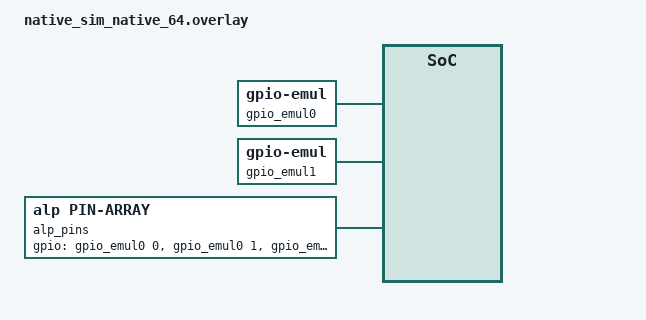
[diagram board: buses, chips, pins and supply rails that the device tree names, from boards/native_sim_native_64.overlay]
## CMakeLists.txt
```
# SPDX-License-Identifier: Apache-2.0

cmake_minimum_required(VERSION 3.20)

# SoM facts follow the board being built, not board.yaml's static som.sku
# (#2597): gen_example_alp_conf.py writes generated/<sku>/alp.conf for a twin
# SKU whose fragment differs (e.g. AEN803's populated OSPI memories).
# Two if()s on purpose: CMake expands ${CMAKE_MATCH_1} before it evaluates the
# if(), so in one combined condition EXISTS would test "generated//alp.conf"
# (always there) and every board would be sent to a per-SKU file, written or not.
if(BOARD MATCHES "^alp_e1m_(aen[0-9]+)")
    if(EXISTS "${CMAKE_CURRENT_LIST_DIR}/generated/${CMAKE_MATCH_1}/alp.conf")
        string(REPLACE "generated/alp.conf" "generated/${CMAKE_MATCH_1}/alp.conf"
               EXTRA_CONF_FILE "${EXTRA_CONF_FILE}")
    endif()
endif()

find_package(Zephyr REQUIRED HINTS $ENV{ZEPHYR_BASE})
project(blink LANGUAGES C)

target_sources(app PRIVATE src/main.c)
```

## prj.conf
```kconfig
# SPDX-License-Identifier: Apache-2.0
#
# Intentionally empty.  Every CONFIG_* this app needs is derived
# from board.yaml by scripts/alp_project.py and layered in as
# `EXTRA_CONF_FILE` via CMakeLists.txt -- the board.yaml is the
# single source of truth.  If you want a hand-set override, add a
# new prj-override.conf and `list(APPEND EXTRA_CONF_FILE ...)` it.
```

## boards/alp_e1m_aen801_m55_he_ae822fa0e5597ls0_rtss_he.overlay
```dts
/*
 * Copyright 2026 Alp Lab AB
 * SPDX-License-Identifier: Apache-2.0
 *
 * Real-hardware pin routing for blink on the E1M-AEN801 (Alif Ensemble
 * E8), M55-HE core.  The M55-HP overlay beside this one is identical --
 * the LED pad is a SoM-level route, not a core-level one, so either
 * core can drive it.
 *
 * WHY THIS FILE EXISTS AT ALL.  <alp/peripheral.h>'s portable
 * alp_gpio_open() resolves a pin id through the `alp,pin-array` DT node
 * (src/backends/gpio/zephyr_drv.c, alp_z_gpio_resolve()).  That node is
 * NOT supplied by the board tree under zephyr/boards/alp/ -- every
 * example that touches GPIO on real silicon ships its own.  Without
 * this file the example builds, links, boots, reaches main() and then
 * fails at the first call with ALP_ERR_INVAL, because the array does
 * not exist.  Verified before this overlay was added:
 *
 *     [blink] init led=BOARD_PIN_LED_RED
 *     [blink] failed: open status=-1
 *
 * THE PAD.  BOARD_PIN_LED_RED -> EVK_PIN_LED_RED -> ALP_E1M_GPIO_PWM0,
 * canonical pin id 26.  (Bench-measured 2026-07-28: the RGB LED's
 * RED/GREEN pads were swapped from the internal netlist's wrong
 * LED_R/LED_G net names -- PWM0 is physically red, PWM3 physically
 * green; see metadata/boards/e1m-evk.yaml's `e1m_routes:` comment.
 * Don't "fix" this back toward the netlist.)  The E1M pad -> Alif pad
 * mapping is committed data, not a guess --
 * metadata/e1m_modules/aen/from-alif.tsv:5:
 *
 *     e1m_pad  e1m_function  alif_peripheral  alif_pad
 *     A6       PWM0          UT11_T1_C        P12_7
 *
 * P12_7 is port 12 pin 7 -> `gpio12` (gpio@4900c000,
 * zephyr/dts/alif/ensemble_e8_peripherals.dtsi:222).  Its GPIO function
 * is alt-0 (PIN_P12_7__GPIO = ALIF_PINMUX(12, 7, 0)); the pad's default
 * peripheral function UT11_T1_C is alt-4, which is the PWM path a real
 * PWM fade on this pad would claim instead.  Same silicon -- never
 * hold both at once.
 *
 * WHY THE OTHER 25 ENTRIES POINT AT A DISABLED NODE.  The array is
 * POSITIONAL and the resolver bounds-checks against its length
 * (`if (pin_id >= ARRAY_SIZE(alp_pins)) return false;`), so reaching
 * index 26 means declaring indices 0..25 as well (this overlay in fact
 * declares through index 29, since the RGB GREEN/BLUE channels also
 * have committed Alif mappings).  Only 11 of the E1M GPIO-class pads
 * have a committed Alif mapping in from-alif.tsv (IO0, IO2..IO7,
 * PWM0..PWM4, PWM6) -- IO1 and IO8..IO25 have none.
 *
 * Filling those slots with plausible-looking gpio2 pins would make
 * alp_gpio_open() on any of them DRIVE A REAL PAD on a live board,
 * chosen by guesswork, with whatever else is wired to it.  That is a
 * hardware-contention hazard, not a documentation shortcut.  Instead
 * every unmapped index points at gpio2 pin 31 -- a REAL, ready
 * controller but a pin that does not exist on it (gpio2 has
 * `ngpios = <8>`, so only pins 0..7 are valid).  Zephyr's generic
 * gpio_pin_configure() rejects it against the port pin mask with
 * -EINVAL, so the call fails before any pad is touched.  A disabled
 * sentinel node cannot be used instead: Zephyr only instantiates
 * devices for `status = "okay"` nodes, so DEVICE_DT_GET on a disabled
 * one fails to build (`__device_dts_ord_N undeclared`).
 *
 * So on this board: opening BOARD_PIN_LED_RED works; opening an
 * unmapped E1M pad fails cleanly and loudly.  When a pad gains a real
 * mapping in from-alif.tsv, move its entry off the sentinel.
 */

#include <zephyr/dt-bindings/gpio/gpio.h>

/*
 * No &pinctrl group here on purpose.  GPIO is alt-0 on this SoC and is
 * the pad's default mux, so P12_7 (the LED pad, PWM0) comes up as GPIO
 * without a pinmux entry -- the same reason examples/aen/aen-cc3501e-gpio
 * notes "the LP-GPIO mux (alt-0 default)" for its control nets.  It
 * could not be attached here anyway: gpio12 binds snps,designware-gpio.yaml,
 * which declares no `pinctrl-0` property, so adding one is a devicetree
 * error.  Claiming the pad's alt-4 UT11_T1_C timer function instead is
 * what a real PWM fade on this pad would do.
 */

&gpio12 {
	status = "okay";
};

/*
 * gpio2 backs the RGB LED's GREEN channel (P2_4, PWM3 --
 * metadata/e1m_modules/aen/from-alif.tsv: `B5 PWM3 UT10_T0_A P2_4`,
 * see index [29] below) plus every unmapped sentinel slot in this
 * array (gpio2 pin 31, see the header comment).  This demo doesn't
 * open the green channel, but index 29 still needs a real, enabled
 * controller behind it -- same reasoning as gpio12 above.
 */
&gpio2 {
	status = "okay";
};

/*
 * gpio12 also backs the RGB LED's BLUE channel (P12_6, PWM1 --
 * `B6 PWM1 UT11_T0_C P12_6`, see index [27] below).  Both gpio11..gpio14
 * only became reachable when they were added to
 * ensemble_e8_peripherals.dtsi -- before that these routes resolved to
 * no controller at all.
 */

/ {
	alp_pins: alp-pins {
		compatible = "alp,pin-array";
		gpios = <&gpio2 31 GPIO_ACTIVE_HIGH>,   /* [ 0] ALP_E1M_GPIO_IO0   -- unmapped */
			<&gpio2 31 GPIO_ACTIVE_HIGH>,   /* [ 1] ALP_E1M_GPIO_IO1   -- unmapped */
			<&gpio2 31 GPIO_ACTIVE_HIGH>,   /* [ 2] ALP_E1M_GPIO_IO2   -- unmapped */
			<&gpio2 31 GPIO_ACTIVE_HIGH>,   /* [ 3] ALP_E1M_GPIO_IO3   -- unmapped */
			<&gpio2 31 GPIO_ACTIVE_HIGH>,   /* [ 4] ALP_E1M_GPIO_IO4   -- unmapped */
			<&gpio2 31 GPIO_ACTIVE_HIGH>,   /* [ 5] ALP_E1M_GPIO_IO5   -- unmapped */
			<&gpio2 31 GPIO_ACTIVE_HIGH>,   /* [ 6] ALP_E1M_GPIO_IO6   -- unmapped */
			<&gpio2 31 GPIO_ACTIVE_HIGH>,   /* [ 7] ALP_E1M_GPIO_IO7   -- unmapped */
			<&gpio2 31 GPIO_ACTIVE_HIGH>,   /* [ 8] ALP_E1M_GPIO_IO8   -- unmapped */
			<&gpio2 31 GPIO_ACTIVE_HIGH>,   /* [ 9] ALP_E1M_GPIO_IO9   -- unmapped */
			<&gpio2 31 GPIO_ACTIVE_HIGH>,   /* [10] ALP_E1M_GPIO_IO10  -- unmapped */
			<&gpio2 31 GPIO_ACTIVE_HIGH>,   /* [11] ALP_E1M_GPIO_IO11  -- unmapped */
			<&gpio2 31 GPIO_ACTIVE_HIGH>,   /* [12] ALP_E1M_GPIO_IO12  -- unmapped */
			<&gpio2 31 GPIO_ACTIVE_HIGH>,   /* [13] ALP_E1M_GPIO_IO13  -- unmapped */
			<&gpio2 31 GPIO_ACTIVE_HIGH>,   /* [14] ALP_E1M_GPIO_IO14  -- unmapped */
			<&gpio2 31 GPIO_ACTIVE_HIGH>,   /* [15] ALP_E1M_GPIO_IO15  -- unmapped */
			<&gpio2 31 GPIO_ACTIVE_HIGH>,   /* [16] ALP_E1M_GPIO_IO16  -- unmapped */
			<&gpio2 31 GPIO_ACTIVE_HIGH>,   /* [17] ALP_E1M_GPIO_IO17  -- unmapped */
			<&gpio2 31 GPIO_ACTIVE_HIGH>,   /* [18] ALP_E1M_GPIO_IO18  -- unmapped */
			<&gpio2 31 GPIO_ACTIVE_HIGH>,   /* [19] ALP_E1M_GPIO_IO19  -- unmapped */
			<&gpio2 31 GPIO_ACTIVE_HIGH>,   /* [20] ALP_E1M_GPIO_IO20  -- unmapped */
			<&gpio2 31 GPIO_ACTIVE_HIGH>,   /* [21] ALP_E1M_GPIO_IO21  -- unmapped */
			<&gpio2 31 GPIO_ACTIVE_HIGH>,   /* [22] ALP_E1M_GPIO_IO22  -- unmapped */
			<&gpio2 31 GPIO_ACTIVE_HIGH>,   /* [23] ALP_E1M_GPIO_IO23  -- unmapped */
			<&gpio2 31 GPIO_ACTIVE_HIGH>,   /* [24] ALP_E1M_GPIO_IO24  -- unmapped */
			<&gpio2 31 GPIO_ACTIVE_HIGH>,   /* [25] ALP_E1M_GPIO_IO25  -- unmapped */
			<&gpio12 7 GPIO_ACTIVE_HIGH>,   /* [26] ALP_E1M_GPIO_PWM0  -- THE LED (RGB red channel): E1M pad A6 -> Alif P12_7 */
			<&gpio12 6 GPIO_ACTIVE_HIGH>,   /* [27] ALP_E1M_GPIO_PWM1  -- RGB blue channel:  E1M pad B6 -> Alif P12_6 */
			<&gpio2 31 GPIO_ACTIVE_HIGH>,   /* [28] ALP_E1M_GPIO_PWM2  -- unmapped here */
			<&gpio2          4 GPIO_ACTIVE_HIGH>;   /* [29] ALP_E1M_GPIO_PWM3  -- RGB green channel (unused here): E1M pad B5 -> Alif P2_4 */
	};
};
```

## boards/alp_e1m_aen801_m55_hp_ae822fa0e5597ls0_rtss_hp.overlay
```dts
/*
 * Copyright 2026 Alp Lab AB
 * SPDX-License-Identifier: Apache-2.0
 *
 * Real-hardware pin routing for blink on the E1M-AEN801 (Alif Ensemble
 * E8), M55-HP core.  The M55-HE overlay beside this one is identical --
 * the LED pad is a SoM-level route, not a core-level one, so either
 * core can drive it.
 *
 * WHY THIS FILE EXISTS AT ALL.  <alp/peripheral.h>'s portable
 * alp_gpio_open() resolves a pin id through the `alp,pin-array` DT node
 * (src/backends/gpio/zephyr_drv.c, alp_z_gpio_resolve()).  That node is
 * NOT supplied by the board tree under zephyr/boards/alp/ -- every
 * example that touches GPIO on real silicon ships its own.  Without
 * this file the example builds, links, boots, reaches main() and then
 * fails at the first call with ALP_ERR_INVAL, because the array does
 * not exist.  Verified before this overlay was added:
 *
 *     [blink] init led=BOARD_PIN_LED_RED
 *     [blink] failed: open status=-1
 *
 * THE PAD.  BOARD_PIN_LED_RED -> EVK_PIN_LED_RED -> ALP_E1M_GPIO_PWM0,
 * canonical pin id 26.  (Bench-measured 2026-07-28: the RGB LED's
 * RED/GREEN pads were swapped from the internal netlist's wrong
 * LED_R/LED_G net names -- PWM0 is physically red, PWM3 physically
 * green; see metadata/boards/e1m-evk.yaml's `e1m_routes:` comment.
 * Don't "fix" this back toward the netlist.)  The E1M pad -> Alif pad
 * mapping is committed data, not a guess --
 * metadata/e1m_modules/aen/from-alif.tsv:5:
 *
 *     e1m_pad  e1m_function  alif_peripheral  alif_pad
 *     A6       PWM0          UT11_T1_C        P12_7
 *
 * P12_7 is port 12 pin 7 -> `gpio12` (gpio@4900c000,
 * zephyr/dts/alif/ensemble_e8_peripherals.dtsi:222).  Its GPIO function
 * is alt-0 (PIN_P12_7__GPIO = ALIF_PINMUX(12, 7, 0)); the pad's default
 * peripheral function UT11_T1_C is alt-4, which is the PWM path a real
 * PWM fade on this pad would claim instead.  Same silicon -- never
 * hold both at once.
 *
 * WHY THE OTHER 25 ENTRIES POINT AT A DISABLED NODE.  The array is
 * POSITIONAL and the resolver bounds-checks against its length
 * (`if (pin_id >= ARRAY_SIZE(alp_pins)) return false;`), so reaching
 * index 26 means declaring indices 0..25 as well (this overlay in fact
 * declares through index 29, since the RGB GREEN/BLUE channels also
 * have committed Alif mappings).  Only 11 of the E1M GPIO-class pads
 * have a committed Alif mapping in from-alif.tsv (IO0, IO2..IO7,
 * PWM0..PWM4, PWM6) -- IO1 and IO8..IO25 have none.
 *
 * Filling those slots with plausible-looking gpio2 pins would make
 * alp_gpio_open() on any of them DRIVE A REAL PAD on a live board,
 * chosen by guesswork, with whatever else is wired to it.  That is a
 * hardware-contention hazard, not a documentation shortcut.  Instead
 * every unmapped index points at gpio2 pin 31 -- a REAL, ready
 * controller but a pin that does not exist on it (gpio2 has
 * `ngpios = <8>`, so only pins 0..7 are valid).  Zephyr's generic
 * gpio_pin_configure() rejects it against the port pin mask with
 * -EINVAL, so the call fails before any pad is touched.  A disabled
 * sentinel node cannot be used instead: Zephyr only instantiates
 * devices for `status = "okay"` nodes, so DEVICE_DT_GET on a disabled
 * one fails to build (`__device_dts_ord_N undeclared`).
 *
 * So on this board: opening BOARD_PIN_LED_RED works; opening an
 * unmapped E1M pad fails cleanly and loudly.  When a pad gains a real
 * mapping in from-alif.tsv, move its entry off the sentinel.
 */

#include <zephyr/dt-bindings/gpio/gpio.h>

/*
 * No &pinctrl group here on purpose.  GPIO is alt-0 on this SoC and is
 * the pad's default mux, so P12_7 (the LED pad, PWM0) comes up as GPIO
 * without a pinmux entry -- the same reason examples/aen/aen-cc3501e-gpio
 * notes "the LP-GPIO mux (alt-0 default)" for its control nets.  It
 * could not be attached here anyway: gpio12 binds snps,designware-gpio.yaml,
 * which declares no `pinctrl-0` property, so adding one is a devicetree
 * error.  Claiming the pad's alt-4 UT11_T1_C timer function instead is
 * what a real PWM fade on this pad would do.
 */

&gpio12 {
	status = "okay";
};

/*
 * gpio2 backs the RGB LED's GREEN channel (P2_4, PWM3 --
 * metadata/e1m_modules/aen/from-alif.tsv: `B5 PWM3 UT10_T0_A P2_4`,
 * see index [29] below) plus every unmapped sentinel slot in this
 * array (gpio2 pin 31, see the header comment).  This demo doesn't
 * open the green channel, but index 29 still needs a real, enabled
 * controller behind it -- same reasoning as gpio12 above.
 */
&gpio2 {
	status = "okay";
};

/*
 * gpio12 also backs the RGB LED's BLUE channel (P12_6, PWM1 --
 * `B6 PWM1 UT11_T0_C P12_6`, see index [27] below).  Both gpio11..gpio14
 * only became reachable when they were added to
 * ensemble_e8_peripherals.dtsi -- before that these routes resolved to
 * no controller at all.
 */

/ {
	alp_pins: alp-pins {
		compatible = "alp,pin-array";
		gpios = <&gpio2 31 GPIO_ACTIVE_HIGH>,   /* [ 0] ALP_E1M_GPIO_IO0   -- unmapped */
			<&gpio2 31 GPIO_ACTIVE_HIGH>,   /* [ 1] ALP_E1M_GPIO_IO1   -- unmapped */
			<&gpio2 31 GPIO_ACTIVE_HIGH>,   /* [ 2] ALP_E1M_GPIO_IO2   -- unmapped */
			<&gpio2 31 GPIO_ACTIVE_HIGH>,   /* [ 3] ALP_E1M_GPIO_IO3   -- unmapped */
			<&gpio2 31 GPIO_ACTIVE_HIGH>,   /* [ 4] ALP_E1M_GPIO_IO4   -- unmapped */
			<&gpio2 31 GPIO_ACTIVE_HIGH>,   /* [ 5] ALP_E1M_GPIO_IO5   -- unmapped */
			<&gpio2 31 GPIO_ACTIVE_HIGH>,   /* [ 6] ALP_E1M_GPIO_IO6   -- unmapped */
			<&gpio2 31 GPIO_ACTIVE_HIGH>,   /* [ 7] ALP_E1M_GPIO_IO7   -- unmapped */
			<&gpio2 31 GPIO_ACTIVE_HIGH>,   /* [ 8] ALP_E1M_GPIO_IO8   -- unmapped */
			<&gpio2 31 GPIO_ACTIVE_HIGH>,   /* [ 9] ALP_E1M_GPIO_IO9   -- unmapped */
			<&gpio2 31 GPIO_ACTIVE_HIGH>,   /* [10] ALP_E1M_GPIO_IO10  -- unmapped */
			<&gpio2 31 GPIO_ACTIVE_HIGH>,   /* [11] ALP_E1M_GPIO_IO11  -- unmapped */
			<&gpio2 31 GPIO_ACTIVE_HIGH>,   /* [12] ALP_E1M_GPIO_IO12  -- unmapped */
			<&gpio2 31 GPIO_ACTIVE_HIGH>,   /* [13] ALP_E1M_GPIO_IO13  -- unmapped */
			<&gpio2 31 GPIO_ACTIVE_HIGH>,   /* [14] ALP_E1M_GPIO_IO14  -- unmapped */
			<&gpio2 31 GPIO_ACTIVE_HIGH>,   /* [15] ALP_E1M_GPIO_IO15  -- unmapped */
			<&gpio2 31 GPIO_ACTIVE_HIGH>,   /* [16] ALP_E1M_GPIO_IO16  -- unmapped */
			<&gpio2 31 GPIO_ACTIVE_HIGH>,   /* [17] ALP_E1M_GPIO_IO17  -- unmapped */
			<&gpio2 31 GPIO_ACTIVE_HIGH>,   /* [18] ALP_E1M_GPIO_IO18  -- unmapped */
			<&gpio2 31 GPIO_ACTIVE_HIGH>,   /* [19] ALP_E1M_GPIO_IO19  -- unmapped */
			<&gpio2 31 GPIO_ACTIVE_HIGH>,   /* [20] ALP_E1M_GPIO_IO20  -- unmapped */
			<&gpio2 31 GPIO_ACTIVE_HIGH>,   /* [21] ALP_E1M_GPIO_IO21  -- unmapped */
			<&gpio2 31 GPIO_ACTIVE_HIGH>,   /* [22] ALP_E1M_GPIO_IO22  -- unmapped */
			<&gpio2 31 GPIO_ACTIVE_HIGH>,   /* [23] ALP_E1M_GPIO_IO23  -- unmapped */
			<&gpio2 31 GPIO_ACTIVE_HIGH>,   /* [24] ALP_E1M_GPIO_IO24  -- unmapped */
			<&gpio2 31 GPIO_ACTIVE_HIGH>,   /* [25] ALP_E1M_GPIO_IO25  -- unmapped */
			<&gpio12 7 GPIO_ACTIVE_HIGH>,   /* [26] ALP_E1M_GPIO_PWM0  -- THE LED (RGB red channel): E1M pad A6 -> Alif P12_7 */
			<&gpio12 6 GPIO_ACTIVE_HIGH>,   /* [27] ALP_E1M_GPIO_PWM1  -- RGB blue channel:  E1M pad B6 -> Alif P12_6 */
			<&gpio2 31 GPIO_ACTIVE_HIGH>,   /* [28] ALP_E1M_GPIO_PWM2  -- unmapped here */
			<&gpio2          4 GPIO_ACTIVE_HIGH>;   /* [29] ALP_E1M_GPIO_PWM3  -- RGB green channel (unused here): E1M pad B5 -> Alif P2_4 */
	};
};
```

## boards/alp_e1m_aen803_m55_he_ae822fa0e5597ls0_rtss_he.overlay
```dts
/*
 * Copyright 2026 Alp Lab AB
 * SPDX-License-Identifier: Apache-2.0
 *
 * Real-hardware pin routing for blink on the E1M-AEN803 (Alif Ensemble
 * E8), M55-HE core (#2235) -- every module on the bench farm is an
 * E1M-AEN803, so this is the overlay the default bench build now reads.
 * E1M-AEN803 shares the E1M-AEN801 PCB and silicon (AE822FA0E5597LS0)
 * -- the SKUs only differ in their external OSPI0 memory population
 * (E1M-AEN803 fits both HyperRAM and NOR, see
 * metadata/e1m_modules/E1M-AEN803.yaml).  None of this demo's pads sit
 * on that OSPI0 bus (P2_0, P2_1, P6_2..P6_6, P0_7, P12_0..P12_4, P15_2,
 * P15_3, P15_6, P15_7): the LED lives on P12_7/gpio12, its RGB siblings
 * on P12_6/gpio12 and P2_4/gpio2, and every unmapped array slot on the
 * gpio2-pin-31 sentinel below -- so the E1M-AEN801 body (below) carries
 * over unchanged.  The M55-HP overlay beside this one is identical --
 * the LED pad is a SoM-level route, not a core-level one, so either
 * core can drive it.
 *
 * WHY THIS FILE EXISTS AT ALL.  <alp/peripheral.h>'s portable
 * alp_gpio_open() resolves a pin id through the `alp,pin-array` DT node
 * (src/backends/gpio/zephyr_drv.c, alp_z_gpio_resolve()).  That node is
 * NOT supplied by the board tree under zephyr/boards/alp/ -- every
 * example that touches GPIO on real silicon ships its own.  Without
 * this file the example builds, links, boots, reaches main() and then
 * fails at the first call with ALP_ERR_INVAL, because the array does
 * not exist.  Verified before the E1M-AEN801 overlay was added:
 *
 *     [blink] init led=BOARD_PIN_LED_RED
 *     [blink] failed: open status=-1
 *
 * THE PAD.  BOARD_PIN_LED_RED -> EVK_PIN_LED_RED -> ALP_E1M_GPIO_PWM0,
 * canonical pin id 26.  (Bench-measured 2026-07-28: the RGB LED's
 * RED/GREEN pads were swapped from the internal netlist's wrong
 * LED_R/LED_G net names -- PWM0 is physically red, PWM3 physically
 * green; see metadata/boards/e1m-evk.yaml's `e1m_routes:` comment.
 * Don't "fix" this back toward the netlist.)  The E1M pad -> Alif pad
 * mapping is committed data, not a guess --
 * metadata/e1m_modules/aen/from-alif.tsv:5:
 *
 *     e1m_pad  e1m_function  alif_peripheral  alif_pad
 *     A6       PWM0          UT11_T1_C        P12_7
 *
 * P12_7 is port 12 pin 7 -> `gpio12` (gpio@4900c000,
 * zephyr/dts/alif/ensemble_e8_peripherals.dtsi:222).  Its GPIO function
 * is alt-0 (PIN_P12_7__GPIO = ALIF_PINMUX(12, 7, 0)); the pad's default
 * peripheral function UT11_T1_C is alt-4, which is the PWM path a real
 * PWM fade on this pad would claim instead.  Same silicon -- never
 * hold both at once.
 *
 * WHY THE OTHER 25 ENTRIES POINT AT A DISABLED NODE.  The array is
 * POSITIONAL and the resolver bounds-checks against its length
 * (`if (pin_id >= ARRAY_SIZE(alp_pins)) return false;`), so reaching
 * index 26 means declaring indices 0..25 as well (this overlay in fact
 * declares through index 29, since the RGB GREEN/BLUE channels also
 * have committed Alif mappings).  Only 11 of the E1M GPIO-class pads
 * have a committed Alif mapping in from-alif.tsv (IO0, IO2..IO7,
 * PWM0..PWM4, PWM6) -- IO1 and IO8..IO25 have none.
 *
 * Filling those slots with plausible-looking gpio2 pins would make
 * alp_gpio_open() on any of them DRIVE A REAL PAD on a live board,
 * chosen by guesswork, with whatever else is wired to it.  That is a
 * hardware-contention hazard, not a documentation shortcut.  Instead
 * every unmapped index points at gpio2 pin 31 -- a REAL, ready
 * controller but a pin that does not exist on it (gpio2 has
 * `ngpios = <8>`, so only pins 0..7 are valid).  Zephyr's generic
 * gpio_pin_configure() rejects it against the port pin mask with
 * -EINVAL, so the call fails before any pad is touched.  A disabled
 * sentinel node cannot be used instead: Zephyr only instantiates
 * devices for `status = "okay"` nodes, so DEVICE_DT_GET on a disabled
 * one fails to build (`__device_dts_ord_N undeclared`).
 *
 * So on this board: opening BOARD_PIN_LED_RED works; opening an
 * unmapped E1M pad fails cleanly and loudly.  When a pad gains a real
 * mapping in from-alif.tsv, move its entry off the sentinel.  This is
 * the same rationale the E1M-AEN801 overlay beside this one carries --
 * its body is byte-identical to the one below.
 */

#include <zephyr/dt-bindings/gpio/gpio.h>

/*
 * No &pinctrl group here on purpose.  GPIO is alt-0 on this SoC and is
 * the pad's default mux, so P12_7 (the LED pad, PWM0) comes up as GPIO
 * without a pinmux entry -- the same reason examples/aen/aen-cc3501e-gpio
 * notes "the LP-GPIO mux (alt-0 default)" for its control nets.  It
 * could not be attached here anyway: gpio12 binds snps,designware-gpio.yaml,
 * which declares no `pinctrl-0` property, so adding one is a devicetree
 * error.  Claiming the pad's alt-4 UT11_T1_C timer function instead is
 * what a real PWM fade on this pad would do.
 */

&gpio12 {
	status = "okay";
};

/*
 * gpio2 backs the RGB LED's GREEN channel (P2_4, PWM3 --
 * metadata/e1m_modules/aen/from-alif.tsv: `B5 PWM3 UT10_T0_A P2_4`,
 * see index [29] below) plus every unmapped sentinel slot in this
 * array (gpio2 pin 31, see the header comment).  This demo doesn't
 * open the green channel, but index 29 still needs a real, enabled
 * controller behind it -- same reasoning as gpio12 above.
 */
&gpio2 {
	status = "okay";
};

/*
 * gpio12 also backs the RGB LED's BLUE channel (P12_6, PWM1 --
 * `B6 PWM1 UT11_T0_C P12_6`, see index [27] below).  Both gpio11..gpio14
 * only became reachable when they were added to
 * ensemble_e8_peripherals.dtsi -- before that these routes resolved to
 * no controller at all.
 */

/ {
	alp_pins: alp-pins {
		compatible = "alp,pin-array";
		gpios = <&gpio2 31 GPIO_ACTIVE_HIGH>,   /* [ 0] ALP_E1M_GPIO_IO0   -- unmapped */
			<&gpio2 31 GPIO_ACTIVE_HIGH>,   /* [ 1] ALP_E1M_GPIO_IO1   -- unmapped */
			<&gpio2 31 GPIO_ACTIVE_HIGH>,   /* [ 2] ALP_E1M_GPIO_IO2   -- unmapped */
			<&gpio2 31 GPIO_ACTIVE_HIGH>,   /* [ 3] ALP_E1M_GPIO_IO3   -- unmapped */
			<&gpio2 31 GPIO_ACTIVE_HIGH>,   /* [ 4] ALP_E1M_GPIO_IO4   -- unmapped */
			<&gpio2 31 GPIO_ACTIVE_HIGH>,   /* [ 5] ALP_E1M_GPIO_IO5   -- unmapped */
			<&gpio2 31 GPIO_ACTIVE_HIGH>,   /* [ 6] ALP_E1M_GPIO_IO6   -- unmapped */
			<&gpio2 31 GPIO_ACTIVE_HIGH>,   /* [ 7] ALP_E1M_GPIO_IO7   -- unmapped */
			<&gpio2 31 GPIO_ACTIVE_HIGH>,   /* [ 8] ALP_E1M_GPIO_IO8   -- unmapped */
			<&gpio2 31 GPIO_ACTIVE_HIGH>,   /* [ 9] ALP_E1M_GPIO_IO9   -- unmapped */
			<&gpio2 31 GPIO_ACTIVE_HIGH>,   /* [10] ALP_E1M_GPIO_IO10  -- unmapped */
			<&gpio2 31 GPIO_ACTIVE_HIGH>,   /* [11] ALP_E1M_GPIO_IO11  -- unmapped */
			<&gpio2 31 GPIO_ACTIVE_HIGH>,   /* [12] ALP_E1M_GPIO_IO12  -- unmapped */
			<&gpio2 31 GPIO_ACTIVE_HIGH>,   /* [13] ALP_E1M_GPIO_IO13  -- unmapped */
			<&gpio2 31 GPIO_ACTIVE_HIGH>,   /* [14] ALP_E1M_GPIO_IO14  -- unmapped */
			<&gpio2 31 GPIO_ACTIVE_HIGH>,   /* [15] ALP_E1M_GPIO_IO15  -- unmapped */
			<&gpio2 31 GPIO_ACTIVE_HIGH>,   /* [16] ALP_E1M_GPIO_IO16  -- unmapped */
			<&gpio2 31 GPIO_ACTIVE_HIGH>,   /* [17] ALP_E1M_GPIO_IO17  -- unmapped */
			<&gpio2 31 GPIO_ACTIVE_HIGH>,   /* [18] ALP_E1M_GPIO_IO18  -- unmapped */
			<&gpio2 31 GPIO_ACTIVE_HIGH>,   /* [19] ALP_E1M_GPIO_IO19  -- unmapped */
			<&gpio2 31 GPIO_ACTIVE_HIGH>,   /* [20] ALP_E1M_GPIO_IO20  -- unmapped */
			<&gpio2 31 GPIO_ACTIVE_HIGH>,   /* [21] ALP_E1M_GPIO_IO21  -- unmapped */
			<&gpio2 31 GPIO_ACTIVE_HIGH>,   /* [22] ALP_E1M_GPIO_IO22  -- unmapped */
			<&gpio2 31 GPIO_ACTIVE_HIGH>,   /* [23] ALP_E1M_GPIO_IO23  -- unmapped */
			<&gpio2 31 GPIO_ACTIVE_HIGH>,   /* [24] ALP_E1M_GPIO_IO24  -- unmapped */
			<&gpio2 31 GPIO_ACTIVE_HIGH>,   /* [25] ALP_E1M_GPIO_IO25  -- unmapped */
			<&gpio12 7 GPIO_ACTIVE_HIGH>,   /* [26] ALP_E1M_GPIO_PWM0  -- THE LED (RGB red channel): E1M pad A6 -> Alif P12_7 */
			<&gpio12 6 GPIO_ACTIVE_HIGH>,   /* [27] ALP_E1M_GPIO_PWM1  -- RGB blue channel:  E1M pad B6 -> Alif P12_6 */
			<&gpio2 31 GPIO_ACTIVE_HIGH>,   /* [28] ALP_E1M_GPIO_PWM2  -- unmapped here */
			<&gpio2          4 GPIO_ACTIVE_HIGH>;   /* [29] ALP_E1M_GPIO_PWM3  -- RGB green channel (unused here): E1M pad B5 -> Alif P2_4 */
	};
};
```

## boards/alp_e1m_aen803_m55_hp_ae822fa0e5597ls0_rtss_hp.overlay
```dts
/*
 * Copyright 2026 Alp Lab AB
 * SPDX-License-Identifier: Apache-2.0
 *
 * Real-hardware pin routing for blink on the E1M-AEN803 (Alif Ensemble
 * E8), M55-HP core (#2235).  Every module on the bench farm is an
 * E1M-AEN803, but build.sh's default AEN_BOARD targets the M55-HE core
 * (scripts/bench/aen/bench-env.sh) -- this file is reached only via an
 * explicit AEN_BOARD=alp_e1m_aen803_m55_hp/... override, same as the
 * E1M-AEN801 file beside it always required.
 * E1M-AEN803 shares the E1M-AEN801 PCB and silicon (AE822FA0E5597LS0)
 * -- the SKUs only differ in their external OSPI0 memory population
 * (E1M-AEN803 fits both HyperRAM and NOR, see
 * metadata/e1m_modules/E1M-AEN803.yaml).  None of this demo's pads sit
 * on that OSPI0 bus (P2_0, P2_1, P6_2..P6_6, P0_7, P12_0..P12_4, P15_2,
 * P15_3, P15_6, P15_7): the LED lives on P12_7/gpio12, its RGB siblings
 * on P12_6/gpio12 and P2_4/gpio2, and every unmapped array slot on the
 * gpio2-pin-31 sentinel below -- so the E1M-AEN801 body (below) carries
 * over unchanged.  There is no E1M-AEN803 M55-HE twin of this file:
 * board.yaml declares only cores.m55_hp, so an HE overlay would target
 * an undeclared core.
 *
 * WHY THIS FILE EXISTS AT ALL.  <alp/peripheral.h>'s portable
 * alp_gpio_open() resolves a pin id through the `alp,pin-array` DT node
 * (src/backends/gpio/zephyr_drv.c, alp_z_gpio_resolve()).  That node is
 * NOT supplied by the board tree under zephyr/boards/alp/ -- every
 * example that touches GPIO on real silicon ships its own.  Without
 * this file the example builds, links, boots, reaches main() and then
 * fails at the first call with ALP_ERR_INVAL, because the array does
 * not exist.  Verified before the E1M-AEN801 overlay was added:
 *
 *     [blink] init led=BOARD_PIN_LED_RED
 *     [blink] failed: open status=-1
 *
 * THE PAD.  BOARD_PIN_LED_RED -> EVK_PIN_LED_RED -> ALP_E1M_GPIO_PWM0,
 * canonical pin id 26.  (Bench-measured 2026-07-28: the RGB LED's
 * RED/GREEN pads were swapped from the internal netlist's wrong
 * LED_R/LED_G net names -- PWM0 is physically red, PWM3 physically
 * green; see metadata/boards/e1m-evk.yaml's `e1m_routes:` comment.
 * Don't "fix" this back toward the netlist.)  The E1M pad -> Alif pad
 * mapping is committed data, not a guess --
 * metadata/e1m_modules/aen/from-alif.tsv:5:
 *
 *     e1m_pad  e1m_function  alif_peripheral  alif_pad
 *     A6       PWM0          UT11_T1_C        P12_7
 *
 * P12_7 is port 12 pin 7 -> `gpio12` (gpio@4900c000,
 * zephyr/dts/alif/ensemble_e8_peripherals.dtsi:222).  Its GPIO function
 * is alt-0 (PIN_P12_7__GPIO = ALIF_PINMUX(12, 7, 0)); the pad's default
 * peripheral function UT11_T1_C is alt-4, which is the PWM path a real
 * PWM fade on this pad would claim instead.  Same silicon -- never
 * hold both at once.
 *
 * WHY THE OTHER 25 ENTRIES POINT AT A DISABLED NODE.  The array is
 * POSITIONAL and the resolver bounds-checks against its length
 * (`if (pin_id >= ARRAY_SIZE(alp_pins)) return false;`), so reaching
 * index 26 means declaring indices 0..25 as well (this overlay in fact
 * declares through index 29, since the RGB GREEN/BLUE channels also
 * have committed Alif mappings).  Only 11 of the E1M GPIO-class pads
 * have a committed Alif mapping in from-alif.tsv (IO0, IO2..IO7,
 * PWM0..PWM4, PWM6) -- IO1 and IO8..IO25 have none.
 *
 * Filling those slots with plausible-looking gpio2 pins would make
 * alp_gpio_open() on any of them DRIVE A REAL PAD on a live board,
 * chosen by guesswork, with whatever else is wired to it.  That is a
 * hardware-contention hazard, not a documentation shortcut.  Instead
 * every unmapped index points at gpio2 pin 31 -- a REAL, ready
 * controller but a pin that does not exist on it (gpio2 has
 * `ngpios = <8>`, so only pins 0..7 are valid).  Zephyr's generic
 * gpio_pin_configure() rejects it against the port pin mask with
 * -EINVAL, so the call fails before any pad is touched.  A disabled
 * sentinel node cannot be used instead: Zephyr only instantiates
 * devices for `status = "okay"` nodes, so DEVICE_DT_GET on a disabled
 * one fails to build (`__device_dts_ord_N undeclared`).
 *
 * So on this board: opening BOARD_PIN_LED_RED works; opening an
 * unmapped E1M pad fails cleanly and loudly.  When a pad gains a real
 * mapping in from-alif.tsv, move its entry off the sentinel.  This is
 * the same rationale the E1M-AEN801 overlay beside this one carries --
 * its body is byte-identical to the one below.
 */

#include <zephyr/dt-bindings/gpio/gpio.h>

/*
 * No &pinctrl group here on purpose.  GPIO is alt-0 on this SoC and is
 * the pad's default mux, so P12_7 (the LED pad, PWM0) comes up as GPIO
 * without a pinmux entry -- the same reason examples/aen/aen-cc3501e-gpio
 * notes "the LP-GPIO mux (alt-0 default)" for its control nets.  It
 * could not be attached here anyway: gpio12 binds snps,designware-gpio.yaml,
 * which declares no `pinctrl-0` property, so adding one is a devicetree
 * error.  Claiming the pad's alt-4 UT11_T1_C timer function instead is
 * what a real PWM fade on this pad would do.
 */

&gpio12 {
	status = "okay";
};

/*
 * gpio2 backs the RGB LED's GREEN channel (P2_4, PWM3 --
 * metadata/e1m_modules/aen/from-alif.tsv: `B5 PWM3 UT10_T0_A P2_4`,
 * see index [29] below) plus every unmapped sentinel slot in this
 * array (gpio2 pin 31, see the header comment).  This demo doesn't
 * open the green channel, but index 29 still needs a real, enabled
 * controller behind it -- same reasoning as gpio12 above.
 */
&gpio2 {
	status = "okay";
};

/*
 * gpio12 also backs the RGB LED's BLUE channel (P12_6, PWM1 --
 * `B6 PWM1 UT11_T0_C P12_6`, see index [27] below).  Both gpio11..gpio14
 * only became reachable when they were added to
 * ensemble_e8_peripherals.dtsi -- before that these routes resolved to
 * no controller at all.
 */

/ {
	alp_pins: alp-pins {
		compatible = "alp,pin-array";
		gpios = <&gpio2 31 GPIO_ACTIVE_HIGH>,   /* [ 0] ALP_E1M_GPIO_IO0   -- unmapped */
			<&gpio2 31 GPIO_ACTIVE_HIGH>,   /* [ 1] ALP_E1M_GPIO_IO1   -- unmapped */
			<&gpio2 31 GPIO_ACTIVE_HIGH>,   /* [ 2] ALP_E1M_GPIO_IO2   -- unmapped */
			<&gpio2 31 GPIO_ACTIVE_HIGH>,   /* [ 3] ALP_E1M_GPIO_IO3   -- unmapped */
			<&gpio2 31 GPIO_ACTIVE_HIGH>,   /* [ 4] ALP_E1M_GPIO_IO4   -- unmapped */
			<&gpio2 31 GPIO_ACTIVE_HIGH>,   /* [ 5] ALP_E1M_GPIO_IO5   -- unmapped */
			<&gpio2 31 GPIO_ACTIVE_HIGH>,   /* [ 6] ALP_E1M_GPIO_IO6   -- unmapped */
			<&gpio2 31 GPIO_ACTIVE_HIGH>,   /* [ 7] ALP_E1M_GPIO_IO7   -- unmapped */
			<&gpio2 31 GPIO_ACTIVE_HIGH>,   /* [ 8] ALP_E1M_GPIO_IO8   -- unmapped */
			<&gpio2 31 GPIO_ACTIVE_HIGH>,   /* [ 9] ALP_E1M_GPIO_IO9   -- unmapped */
			<&gpio2 31 GPIO_ACTIVE_HIGH>,   /* [10] ALP_E1M_GPIO_IO10  -- unmapped */
			<&gpio2 31 GPIO_ACTIVE_HIGH>,   /* [11] ALP_E1M_GPIO_IO11  -- unmapped */
			<&gpio2 31 GPIO_ACTIVE_HIGH>,   /* [12] ALP_E1M_GPIO_IO12  -- unmapped */
			<&gpio2 31 GPIO_ACTIVE_HIGH>,   /* [13] ALP_E1M_GPIO_IO13  -- unmapped */
			<&gpio2 31 GPIO_ACTIVE_HIGH>,   /* [14] ALP_E1M_GPIO_IO14  -- unmapped */
			<&gpio2 31 GPIO_ACTIVE_HIGH>,   /* [15] ALP_E1M_GPIO_IO15  -- unmapped */
			<&gpio2 31 GPIO_ACTIVE_HIGH>,   /* [16] ALP_E1M_GPIO_IO16  -- unmapped */
			<&gpio2 31 GPIO_ACTIVE_HIGH>,   /* [17] ALP_E1M_GPIO_IO17  -- unmapped */
			<&gpio2 31 GPIO_ACTIVE_HIGH>,   /* [18] ALP_E1M_GPIO_IO18  -- unmapped */
			<&gpio2 31 GPIO_ACTIVE_HIGH>,   /* [19] ALP_E1M_GPIO_IO19  -- unmapped */
			<&gpio2 31 GPIO_ACTIVE_HIGH>,   /* [20] ALP_E1M_GPIO_IO20  -- unmapped */
			<&gpio2 31 GPIO_ACTIVE_HIGH>,   /* [21] ALP_E1M_GPIO_IO21  -- unmapped */
			<&gpio2 31 GPIO_ACTIVE_HIGH>,   /* [22] ALP_E1M_GPIO_IO22  -- unmapped */
			<&gpio2 31 GPIO_ACTIVE_HIGH>,   /* [23] ALP_E1M_GPIO_IO23  -- unmapped */
			<&gpio2 31 GPIO_ACTIVE_HIGH>,   /* [24] ALP_E1M_GPIO_IO24  -- unmapped */
			<&gpio2 31 GPIO_ACTIVE_HIGH>,   /* [25] ALP_E1M_GPIO_IO25  -- unmapped */
			<&gpio12 7 GPIO_ACTIVE_HIGH>,   /* [26] ALP_E1M_GPIO_PWM0  -- THE LED (RGB red channel): E1M pad A6 -> Alif P12_7 */
			<&gpio12 6 GPIO_ACTIVE_HIGH>,   /* [27] ALP_E1M_GPIO_PWM1  -- RGB blue channel:  E1M pad B6 -> Alif P12_6 */
			<&gpio2 31 GPIO_ACTIVE_HIGH>,   /* [28] ALP_E1M_GPIO_PWM2  -- unmapped here */
			<&gpio2          4 GPIO_ACTIVE_HIGH>;   /* [29] ALP_E1M_GPIO_PWM3  -- RGB green channel (unused here): E1M pad B5 -> Alif P2_4 */
	};
};
```

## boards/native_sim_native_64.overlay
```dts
/*
 * Copyright 2026 Alp Lab AB
 * SPDX-License-Identifier: Apache-2.0
 *
 * Host-emulated alp,pin-array for blink under native_sim.
 *
 * The array is POSITIONAL: alp_z_gpio_resolve(pin_id) indexes it by
 * the pin id an example opens with, so entry N must be pad N in the
 * e1m_pinout.h canonical order (IO0..IO25 = 0..25, PWM0..PWM7 =
 * 26..33, ...).  This example only ever opens one pin
 * (BOARD_PIN_LED_RED), but the array is still positional from index
 * 0 -- entries below the one actually used exist purely to keep the
 * indexing contract, same as every other example's native_sim
 * overlay.
 *
 *   - index 26 = ALP_E1M_GPIO_PWM0 -> the RGB-red pad, claimed as
 *     GPIO.  This is BOARD_PIN_LED_RED on the E1M EVK
 *     (ALP_BOARD_E1M_EVK).  Bench-measured 2026-07-28 -- PWM0 is
 *     physically red, PWM3 is physically green; see
 *     metadata/boards/e1m-evk.yaml's `e1m_routes:` comment.
 *
 * The array is indexed by PIN ID, and the two EVKs number their pads
 * differently, so one entry can mean different pads per variant:
 *
 *   - index 26 = ALP_E1M_GPIO_PWM0   -> BOARD_PIN_LED_RED under
 *     ALP_BOARD_E1M_EVK   (E1M: IO0..IO25 = 0..25, PWM0..PWM7 = 26..33)
 *   - index 41 = ALP_E1M_X_GPIO_PWM5 -> BOARD_PIN_LED_RED under
 *     ALP_BOARD_E1M_X_EVK (E1M-X: IO0..IO35 = 0..35, PWM0..PWM7 = 36..43)
 *
 * The array therefore runs to index 41 and spans TWO emulated
 * controllers, because a zephyr,gpio-emul tops out at 32 pins.  Both
 * variants resolve their LED and really toggle here.
 *
 * This matters more than it looks: an earlier draft stopped at index
 * 29, so the E1M-X variant's alp_gpio_open() returned NULL, main.c
 * took its failure path, and the twister harness -- keyed only on a
 * "[blink] done" line that the failure path also printed -- went
 * GREEN over a variant where nothing toggled.  main.c now prints
 * "[blink] failed: ..." and returns non-zero on every failure path,
 * so "[blink] done" cannot appear unless the LED was actually
 * driven.  (examples/peripheral-io/gpio-button-led still has the
 * original shape -- tracked separately.)
 */

#include <zephyr/dt-bindings/gpio/gpio.h>

/ {
    gpio_emul0: gpio_emul0 {
        compatible = "zephyr,gpio-emul";
        status = "okay";
        gpio-controller;
        rising-edge;
        falling-edge;
        #gpio-cells = <2>;
        ngpios = <32>;
    };

    /* A zephyr,gpio-emul controller tops out at 32 pins, and the
     * E1M-X LED lives at index 41 (ALP_E1M_X_GPIO_PWM5).  A second
     * controller carries indices 32.. so the E1M-X variant resolves
     * its pin and really toggles under native_sim, instead of
     * failing the open and still exiting cleanly. */
    gpio_emul1: gpio_emul1 {
        compatible = "zephyr,gpio-emul";
        status = "okay";
        gpio-controller;
        rising-edge;
        falling-edge;
        #gpio-cells = <2>;
        ngpios = <32>;
    };

    alp_pins: alp-pins {
        compatible = "alp,pin-array";
        gpios = <&gpio_emul0  0 GPIO_ACTIVE_HIGH>,   /* [ 0] ALP_E1M_GPIO_IO0  */
                <&gpio_emul0  1 GPIO_ACTIVE_HIGH>,   /* [ 1] ALP_E1M_GPIO_IO1  */
                <&gpio_emul0  2 GPIO_ACTIVE_HIGH>,   /* [ 2] ALP_E1M_GPIO_IO2  */
                <&gpio_emul0  3 GPIO_ACTIVE_HIGH>,   /* [ 3] ALP_E1M_GPIO_IO3  */
                <&gpio_emul0  4 GPIO_ACTIVE_HIGH>,   /* [ 4] ALP_E1M_GPIO_IO4  */
                <&gpio_emul0  5 GPIO_ACTIVE_HIGH>,   /* [ 5] ALP_E1M_GPIO_IO5  */
                <&gpio_emul0  6 GPIO_ACTIVE_HIGH>,   /* [ 6] ALP_E1M_GPIO_IO6  */
                <&gpio_emul0  7 GPIO_ACTIVE_HIGH>,   /* [ 7] ALP_E1M_GPIO_IO7  */
                <&gpio_emul0  8 GPIO_ACTIVE_HIGH>,   /* [ 8] ALP_E1M_GPIO_IO8  */
                <&gpio_emul0  9 GPIO_ACTIVE_HIGH>,   /* [ 9] ALP_E1M_GPIO_IO9  */
                <&gpio_emul0 10 GPIO_ACTIVE_HIGH>,   /* [10] ALP_E1M_GPIO_IO10 */
                <&gpio_emul0 11 GPIO_ACTIVE_HIGH>,   /* [11] ALP_E1M_GPIO_IO11 */
                <&gpio_emul0 12 GPIO_ACTIVE_HIGH>,   /* [12] ALP_E1M_GPIO_IO12 */
                <&gpio_emul0 13 GPIO_ACTIVE_HIGH>,   /* [13] ALP_E1M_GPIO_IO13 */
                <&gpio_emul0 14 GPIO_ACTIVE_HIGH>,   /* [14] ALP_E1M_GPIO_IO14 */
                <&gpio_emul0 15 GPIO_ACTIVE_HIGH>,   /* [15] ALP_E1M_GPIO_IO15 */
                <&gpio_emul0 16 GPIO_ACTIVE_HIGH>,   /* [16] ALP_E1M_GPIO_IO16 */
                <&gpio_emul0 17 GPIO_ACTIVE_HIGH>,   /* [17] ALP_E1M_GPIO_IO17 */
                <&gpio_emul0 18 GPIO_ACTIVE_HIGH>,   /* [18] ALP_E1M_GPIO_IO18 */
                <&gpio_emul0 19 GPIO_ACTIVE_HIGH>,   /* [19] ALP_E1M_GPIO_IO19 */
                <&gpio_emul0 20 GPIO_ACTIVE_HIGH>,   /* [20] ALP_E1M_GPIO_IO20 */
                <&gpio_emul0 21 GPIO_ACTIVE_HIGH>,   /* [21] ALP_E1M_GPIO_IO21 */
                <&gpio_emul0 22 GPIO_ACTIVE_HIGH>,   /* [22] ALP_E1M_GPIO_IO22 */
                <&gpio_emul0 23 GPIO_ACTIVE_HIGH>,   /* [23] ALP_E1M_GPIO_IO23 */
                <&gpio_emul0 24 GPIO_ACTIVE_HIGH>,   /* [24] ALP_E1M_GPIO_IO24 */
                <&gpio_emul0 25 GPIO_ACTIVE_HIGH>,   /* [25] ALP_E1M_GPIO_IO25 */
                <&gpio_emul0 26 GPIO_ACTIVE_HIGH>,   /* [26] ALP_E1M_GPIO_PWM0 -- LED on E1M EVK (BOARD_PIN_LED_RED) */
                <&gpio_emul0 27 GPIO_ACTIVE_HIGH>,   /* [27] ALP_E1M_GPIO_PWM1 */
                <&gpio_emul0 28 GPIO_ACTIVE_HIGH>,   /* [28] ALP_E1M_GPIO_PWM2 */
                <&gpio_emul0 29 GPIO_ACTIVE_HIGH>,   /* [29] ALP_E1M_GPIO_PWM3 */
                <&gpio_emul0 30 GPIO_ACTIVE_HIGH>,   /* [30] ALP_E1M_GPIO_PWM4 */
                <&gpio_emul0 31 GPIO_ACTIVE_HIGH>,   /* [31] ALP_E1M_GPIO_PWM5 */
                /* gpio_emul0 is full at 32 pins, so the E1M-X range
                 * continues on a second emulated controller.  Indices
                 * 32.. only ever resolve under ALP_BOARD_E1M_X_EVK,
                 * whose pinout has 36 IO pads (IO0..IO35 = 0..35)
                 * before its PWM block (PWM0..PWM7 = 36..43). */
                <&gpio_emul1  0 GPIO_ACTIVE_HIGH>,   /* [32] ALP_E1M_X_GPIO_IO32 */
                <&gpio_emul1  1 GPIO_ACTIVE_HIGH>,   /* [33] ALP_E1M_X_GPIO_IO33 */
                <&gpio_emul1  2 GPIO_ACTIVE_HIGH>,   /* [34] ALP_E1M_X_GPIO_IO34 */
                <&gpio_emul1  3 GPIO_ACTIVE_HIGH>,   /* [35] ALP_E1M_X_GPIO_IO35 */
                <&gpio_emul1  4 GPIO_ACTIVE_HIGH>,   /* [36] ALP_E1M_X_GPIO_PWM0 */
                <&gpio_emul1  5 GPIO_ACTIVE_HIGH>,   /* [37] ALP_E1M_X_GPIO_PWM1 */
                <&gpio_emul1  6 GPIO_ACTIVE_HIGH>,   /* [38] ALP_E1M_X_GPIO_PWM2 */
                <&gpio_emul1  7 GPIO_ACTIVE_HIGH>,   /* [39] ALP_E1M_X_GPIO_PWM3 */
                <&gpio_emul1  8 GPIO_ACTIVE_HIGH>,   /* [40] ALP_E1M_X_GPIO_PWM4 */
                <&gpio_emul1  9 GPIO_ACTIVE_HIGH>;   /* [41] ALP_E1M_X_GPIO_PWM5 -- LED on E1M-X EVK */
    };
};
```

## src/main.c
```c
/*
 * Copyright 2026 Alp Lab AB
 * SPDX-License-Identifier: Apache-2.0
 *
 * blink -- the canonical "first program": toggle an LED, forever.
 *
 * Every E1M SoM (E1M-AEN801, and the E1M-X family: V2N / V2N-M1) is a
 * bare compute module -- it has no LED of its own.  The LED lives on
 * the CARRIER BOARD it's plugged into, so "which pin is the LED" is
 * not a fact about the SoM: metadata/e1m_modules/E1M-AEN801.yaml (the
 * SoM's own metadata) carries no LED key at all.  It's a fact about
 * the board.yaml `preset:` this app builds against -- here `e1m-evk`
 * / `e1m-x-evk` (see board.yaml next to this file).  A different
 * carrier for the same SoM could wire no LED at all, or wire it
 * somewhere else entirely.
 *
 * Both Alp Lab EVKs put their only user-visible LED on an RGB
 * cluster riding PWM-capable pads -- neither has a dedicated single-
 * colour GPIO LED.  E1M makes GPIO a universal *secondary* function
 * on every digital pad (e1m-spec STANDARD.md "GPIO secondary"): a pad
 * whose default function is PWM can still be driven as a plain
 * digital output by opening its parallel `ALP_E1M_GPIO_<class><N>`
 * index instead of its peripheral id.  This demo claims the RGB
 * cluster's RED channel that way -- the same physical pad
 * `alp_pwm_open(ALP_E1M_PWM0)` would claim for a real PWM fade is
 * opened here instead as `alp_gpio_open(ALP_E1M_GPIO_PWM0)`.  Never
 * hold both against the same pad at once -- it's the same silicon
 * underneath.  (examples/peripheral-io/pwm-led-fade drives the RGB
 * GREEN channel instead, on ALP_E1M_PWM3 -- a different pad.)
 *
 * This demo opens its pin by the portable `BOARD_PIN_LED_RED` alias
 * from <alp/board.h>, not a raw pin number.  The facade selects the
 * active board's generated routes header at compile time from the
 * ALP_BOARD_<SLUG> define the build emits from board.yaml's
 * `preset:`, so this exact source builds unchanged for either EVK:
 *
 *   E1M EVK:   BOARD_PIN_LED_RED = EVK_PIN_LED_RED  = ALP_E1M_GPIO_PWM0
 *   E1M-X EVK: BOARD_PIN_LED_RED = XEVK_PIN_LED_RED = ALP_E1M_X_GPIO_PWM5
 *
 * Want green or blue instead?  Both EVK route tables declare the
 * whole RGB set -- EVK_PIN_LED_GREEN / EVK_PIN_LED_BLUE in
 * include/alp/boards/alp_e1m_evk_routes.h, XEVK_PIN_LED_GREEN /
 * XEVK_PIN_LED_BLUE in alp_e1m_x_evk_routes.h -- but only RED has a
 * cross-EVK BOARD_* alias in <alp/board.h> today.  Open the EVK_* /
 * XEVK_* macro directly (under an `#if defined(ALP_BOARD_E1M_EVK)` /
 * `ALP_BOARD_E1M_X_EVK` guard, same as alp/board.h does) for the
 * other two channels.
 *
 * native_sim wires a GPIO-emul controller in boards/ so the open /
 * configure / write path runs under CI -- see that overlay's header
 * comment for why the E1M-X variant's higher pin index degrades to a
 * clean "opened nothing, still exits" run there instead of a real
 * toggle.
 */

#include <stdio.h>

#include "alp/peripheral.h"

#include "alp/board.h"

/* Half-period of the blink, in milliseconds -- 200 ms each way gives a
 * ~2.5 Hz flash, fast enough to read as "alive" at a glance and slow
 * enough not to look like a solid LED. */
#define ALP_BLINK_PERIOD_MS 200u

/* How many toggles get a console line before the "[blink] done" marker
 * prints.  Only the automated harness cares; the LED keeps blinking
 * afterwards either way.  Kept small so a twister run finishes fast. */
#define ALP_BLINK_SELFTEST_TOGGLES 10u

int main(void)
{
	/* Bring up the SDK runtime before anything else -- thin today,
	 * but future backends rely on it (see <alp/peripheral.h>). */
	(void)alp_init();

	printf("[blink] init led=BOARD_PIN_LED_RED\n");

	/* alp_gpio_open() returns a bare handle pointer, not an
	 * alp_status_t -- that return type was frozen at v0.1
	 * ([ABI-STABLE], <alp/peripheral.h>) with no room for a second
	 * out-of-band status.  NULL means "failed"; call alp_last_error()
	 * to learn WHY (unrouted pin, exhausted handle pool, ...). */
	alp_gpio_t *led = alp_gpio_open(BOARD_PIN_LED_RED);
	if (led == NULL) {
		/* Deliberately NOT "[blink] done": that string is the
		 * twister harness's success marker (testcase.yaml).  A
		 * failure path that still printed it would make the test
		 * pass while nothing toggled -- which is exactly the hole
		 * this example must not have, being the first thing a
		 * customer copies. */
		printf("[blink] failed: open status=%d\n", (int)alp_last_error());
		return 1;
	}

	alp_status_t s = alp_gpio_configure(led, ALP_GPIO_OUTPUT, ALP_GPIO_PULL_NONE);
	if (s != ALP_OK) {
		printf("[blink] failed: configure status=%d\n", (int)s);
		alp_gpio_close(led);
		return 1;
	}

	/* Park the other two RGB channels OFF.
	 *
	 * The LED this demo drives is one colour channel of a shared RGB
	 * package (D19 on the E1M EVK).  Whatever ran before us may have
	 * left a sibling channel driven -- a previous app, or the resident
	 * boot image, since a debugger load does not reset the GPIO
	 * blocks.  Measured on the bench: the resident slot0 image left
	 * BOARD_PIN_LED_GREEN's pad configured as an output and held
	 * HIGH, so the board showed a SOLID GREEN behind this demo's
	 * blinking channel and "what colour is it" had no clean answer.
	 *
	 * Driving them low costs two GPIO writes and makes the demo
	 * self-isolating: what you see is what this app is doing.  Failing
	 * to park a sibling is NOT fatal -- the demo's own channel still
	 * works -- so this warns and continues rather than returning. */
	const uint32_t siblings[2] = { BOARD_PIN_LED_GREEN, BOARD_PIN_LED_BLUE };

	for (int i = 0; i < 2; i++) {
		alp_gpio_t *other = alp_gpio_open(siblings[i]);

		if (other == NULL) {
			printf("[blink] warn: sibling %d open failed: status=%d\n", i, (int)alp_last_error());
			continue;
		}
		if (alp_gpio_configure(other, ALP_GPIO_OUTPUT, ALP_GPIO_PULL_NONE) == ALP_OK) {
			(void)alp_gpio_write(other, false);
		}
		alp_gpio_close(other);
	}

	/* The point of the demo: toggle the LED so a human watching the
	 * board sees it blink -- so this loop NEVER ENDS.  That is
	 * deliberate and it is the whole difference between a first-blink
	 * demo and a self-test.
	 *
	 * An earlier draft stopped after 10 toggles (~2 s) and returned.
	 * On the bench that is indistinguishable from a dead board: the
	 * pad was verified toggling at the pin, but by the time anyone
	 * looked the app had exited with the LED off.  A blink example
	 * whose blink you have to catch inside a two-second window is not
	 * a blink example.
	 *
	 * The twister harness still gets its deterministic marker: the
	 * "[blink] done" line below prints once, after the first
	 * ALP_BLINK_SELFTEST_TOGGLES toggles, and the loop then keeps
	 * running forever.  A native_sim run under twister matches on that
	 * line and exits; real hardware keeps blinking. */
	bool     on    = false;
	unsigned count = 0;

	for (;;) {
		on = !on;
		s  = alp_gpio_write(led, on);
		if (s != ALP_OK) {
			printf("[blink] failed: write status=%d\n", (int)s);
			alp_gpio_close(led);
			return 1;
		}

		if (count < ALP_BLINK_SELFTEST_TOGGLES) {
			printf("[blink] led=%d status=%d\n", (int)on, (int)s);
			if (++count == ALP_BLINK_SELFTEST_TOGGLES) {
				/* Success marker: unreachable from any failure
				 * path above, so a green harness run means the
				 * LED was really driven. */
				printf("[blink] done\n");
			}
		}

		alp_delay_ms(ALP_BLINK_PERIOD_MS);
	}
}
```
